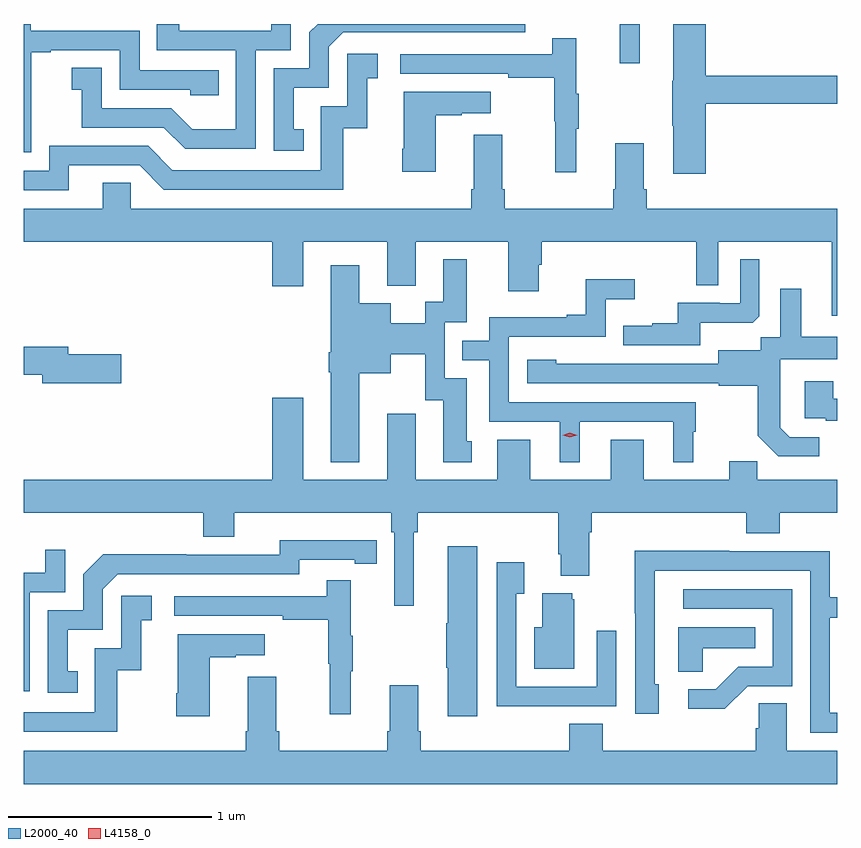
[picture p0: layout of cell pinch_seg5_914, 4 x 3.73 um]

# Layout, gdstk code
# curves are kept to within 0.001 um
import gdstk
lib = gdstk.Library(unit=1e-6, precision=1e-09)
def R(c, l, rs):  # rectangles x0, y0, x1, y1
    for r in rs: c.add(gdstk.rectangle(r[:2], r[2:], *l))
def P(c, l, *ps):  # polygons
    for p in ps: c.add(gdstk.Polygon(p, *l))
L2000_40 = (2000, 40)
L4158_0 = (4158, 0)

pinch_seg5_914 = lib.new_cell('pinch_seg5_914')
R(pinch_seg5_914, L2000_40, [(687.219,878.949,687.316,879.143)])
P(pinch_seg5_914, L2000_40, [(687.641,878.752),(688.288,878.752),(688.288,878.888),(687.641,878.888),(687.641,879.143),(687.482,879.143),(687.482,878.865),(687.475,878.865),(687.475,878.644),(687.482,878.644),(687.482,878.406),(687.641,878.406)],
  [(685.664,878.625),(685.615,878.625),(685.615,878.829),(685.788,878.829),(685.788,879.03),(685.86,879.102),(686.754,879.102),(686.754,879.143),(685.733,879.143),(685.692,879.102),(685.692,878.925),(685.518,878.925),(685.518,878.52),(685.664,878.52)],
  [(685.428,879.015),(685.602,879.015),(685.602,879.143),(685.505,879.143),(685.505,879.111),(685.054,879.111),(685.054,879.143),(684.943,879.143),(684.943,879.015),(685.332,879.015),(685.332,878.626),(685.118,878.626),(685.014,878.73),(684.672,878.73),(684.672,878.929),(684.525,878.929),(684.525,878.819),(684.574,878.819),(684.574,878.634),(684.977,878.634),(685.082,878.529),(685.428,878.529)],
  [(684.327,878.719),(684.326,878.719),(684.326,879.003),(684.421,879.003),(684.421,879.015),(684.762,879.015),(684.762,878.82),(685.107,878.82),(685.107,878.793),(685.247,878.793),(685.247,878.916),(684.858,878.916),(684.858,879.111),(684.324,879.111),(684.324,879.143),(684.288,879.143),(684.288,878.513),(684.327,878.513)],
  [(687.005,878.627),(687.016,878.627),(687.016,878.801),(687.005,878.801),(687.005,879.073),(686.887,879.073),(686.887,878.994),(686.139,878.994),(686.139,878.898),(686.671,878.898),(686.671,878.878),(686.895,878.878),(686.895,878.664),(686.902,878.664),(686.902,878.415),(687.005,878.415)],
  [(684.511,878.448),(684.858,878.448),(684.978,878.328),(685.858,878.328),(685.858,878.631),(685.976,878.631),(685.976,878.877),(686.029,878.877),(686.029,878.998),(685.878,878.998),(685.878,878.739),(685.749,878.739),(685.749,878.424),(685.02,878.424),(684.9,878.544),(684.414,878.544),(684.414,878.421),(684.288,878.421),(684.288,878.325),(684.511,878.325)],
  [(686.314,878.695),(686.441,878.695),(686.441,878.705),(686.584,878.705),(686.584,878.809),(686.156,878.809),(686.156,878.53),(686.149,878.53),(686.149,878.418),(686.314,878.418)],
  [(688.288,878.236),(687.35,878.236),(687.35,878.332),(687.337,878.332),(687.337,878.557),(687.197,878.557),(687.197,878.332),(687.185,878.332),(687.185,878.236),(686.654,878.236),(686.654,878.332),(686.641,878.332),(686.641,878.599),(686.501,878.599),(686.501,878.332),(686.489,878.332),(686.489,878.236),(684.816,878.236),(684.816,878.363),(684.677,878.363),(684.677,878.236),(684.288,878.236),(684.288,878.072),(685.511,878.072),(685.511,877.854),(685.663,877.854),(685.663,878.072),(686.075,878.072),(686.075,877.856),(686.215,877.856),(686.215,878.072),(686.669,878.072),(686.669,877.83),(686.821,877.83),(686.821,877.959),(686.834,877.959),(686.834,878.072),(687.594,878.072),(687.594,877.858),(687.702,877.858),(687.702,878.072),(688.259,878.072),(688.259,877.71),(688.288,877.71)],
  [(687.613,877.676),(687.871,877.676),(687.903,877.707),(687.903,877.987),(687.81,877.987),(687.81,877.77),(687.71,877.77),(687.71,877.773),(687.503,877.773),(687.503,877.672),(687.379,877.672),(687.379,877.66),(687.235,877.66),(687.235,877.563),(687.613,877.563)],
  [(685.939,877.427),(686.092,877.427),(686.092,877.52),(686.262,877.52),(686.262,877.293),(686.351,877.293),(686.351,876.99),(686.491,876.99),(686.491,877.092),(686.467,877.092),(686.467,877.401),(686.358,877.401),(686.358,877.677),(686.467,877.677),(686.467,877.987),(686.351,877.987),(686.351,877.778),(686.261,877.778),(686.261,877.672),(686.092,877.672),(686.092,877.771),(685.939,877.771),(685.939,877.957),(685.799,877.957),(685.799,877.531),(685.787,877.531),(685.787,877.431),(685.799,877.431),(685.799,876.989),(685.939,876.989)],
  [(687.022,877.188),(687.482,877.188),(687.482,876.989),(687.58,876.989),(687.58,877.14),(687.592,877.14),(687.592,877.284),(686.673,877.284),(686.673,877.605),(687.15,877.605),(687.15,877.79),(687.292,877.79),(687.292,877.889),(687.052,877.889),(687.052,877.714),(686.957,877.714),(686.957,877.701),(686.577,877.701),(686.577,877.587),(686.443,877.587),(686.443,877.491),(686.577,877.491),(686.577,877.188),(686.924,877.188),(686.924,876.989),(687.022,876.989)],
  [(688.198,877.113),(688.053,877.113),(688.006,877.16),(688.006,877.255),(688.008,877.255),(688.008,877.496),(688.288,877.496),(688.288,877.606),(688.111,877.606),(688.111,877.843),(688.007,877.843),(688.007,877.604),(687.912,877.604),(687.912,877.54),(687.701,877.54),(687.701,877.473),(686.907,877.474),(686.907,877.492),(686.763,877.492),(686.763,877.377),(687.705,877.377),(687.705,877.365),(687.897,877.365),(687.897,877.119),(687.997,877.019),(688.198,877.019)],
  [(684.769,877.52),(684.508,877.52),(684.508,877.556),(684.288,877.556),(684.288,877.42),(684.38,877.42),(684.38,877.378),(684.769,877.378)],
  [(688.288,877.302),(688.267,877.302),(688.267,877.387),(688.127,877.387),(688.127,877.206),(688.231,877.206),(688.231,877.194),(688.288,877.194)],
  [(686.206,876.644),(686.225,876.644),(686.225,876.74),(686.915,876.74),(686.915,876.538),(686.927,876.538),(686.927,876.431),(687.067,876.431),(687.067,876.644),(687.08,876.644),(687.08,876.74),(687.839,876.74),(687.839,876.641),(688.004,876.641),(688.004,876.74),(688.288,876.74),(688.288,876.904),(687.893,876.904),(687.893,876.995),(687.755,876.995),(687.755,876.904),(687.337,876.904),(687.337,877.099),(687.173,877.099),(687.173,876.904),(686.779,876.904),(686.779,877.099),(686.615,877.099),(686.615,876.904),(686.215,876.904),(686.215,877.228),(686.075,877.228),(686.075,876.904),(685.663,876.904),(685.663,877.306),(685.511,877.306),(685.511,876.904),(684.288,876.904),(684.288,876.74),(685.172,876.74),(685.172,876.623),(685.324,876.623),(685.324,876.74),(686.096,876.74),(686.096,876.644),(686.109,876.644),(686.109,876.285),(686.206,876.285)],
  [(684.554,875.961),(684.505,875.961),(684.505,876.165),(684.678,876.165),(684.678,876.366),(684.75,876.438),(685.644,876.438),(685.644,876.51),(685.916,876.51),(685.916,876.49),(686.024,876.49),(686.024,876.606),(685.548,876.607),(685.548,876.534),(685.088,876.534),(685.088,876.536),(684.68,876.536),(684.582,876.438),(684.582,876.261),(684.408,876.261),(684.408,875.856),(684.554,875.856)],
  [(686.518,876.577),(686.372,876.577),(686.372,876.197),(686.365,876.197),(686.365,875.98),(686.372,875.98),(686.372,875.742),(686.518,875.742)],
  [(684.318,876.351),(684.492,876.351),(684.492,876.559),(684.395,876.559),(684.395,876.447),(684.288,876.447),(684.288,875.865),(684.318,875.865)],
  [(688.288,875.757),(688.251,875.757),(688.251,876.226),(688.288,876.226),(688.288,876.327),(688.251,876.327),(688.251,876.552),(687.755,876.552),(687.755,876.554),(687.292,876.554),(687.292,876.247),(687.294,876.247),(687.294,875.754),(687.409,875.754),(687.409,875.898),(687.39,875.898),(687.39,876.456),(688.155,876.456),(688.155,875.661),(688.288,875.661)],
  [(686.885,875.79),(687.201,875.79),(687.201,876.16),(687.105,876.16),(687.105,875.886),(686.709,875.886),(686.709,876.343),(686.749,876.343),(686.749,876.499),(686.613,876.499),(686.613,875.789),(686.885,875.789)],
  [(685.895,875.963),(685.906,875.963),(685.906,876.137),(685.895,876.137),(685.895,876.409),(685.777,876.409),(685.777,876.33),(685.029,876.33),(685.029,876.234),(685.561,876.234),(685.561,876.214),(685.785,876.214),(685.785,876),(685.792,876),(685.792,875.751),(685.895,875.751)],
  [(687.846,875.889),(688.065,875.889),(688.065,876.366),(687.531,876.366),(687.531,876.27),(687.969,876.27),(687.969,875.985),(687.8,875.985),(687.689,875.874),(687.555,875.874),(687.555,875.777),(687.733,875.777)],
  [(686.995,876.315),(686.984,876.315),(686.984,876.346),(686.837,876.346),(686.837,876.178),(686.798,876.178),(686.798,875.975),(686.995,875.975)],
  [(684.748,875.967),(684.866,875.967),(684.866,876.213),(684.919,876.213),(684.919,876.334),(684.768,876.334),(684.768,876.075),(684.639,876.075),(684.639,875.76),(684.288,875.76),(684.288,875.664),(684.748,875.664)],
  [(687.627,876.074),(687.884,876.074),(687.884,876.178),(687.506,876.178),(687.506,875.959),(687.627,875.959)],
  [(685.204,876.031),(685.331,876.031),(685.331,876.041),(685.474,876.041),(685.474,876.145),(685.046,876.145),(685.046,875.854),(685.039,875.854),(685.039,875.742),(685.204,875.742)],
  [(686.087,875.893),(686.087,875.668),(686.075,875.668),(686.075,875.572),(685.544,875.572),(685.544,875.668),(685.531,875.668),(685.531,875.935),(685.391,875.935),(685.391,875.668),(685.379,875.668),(685.379,875.572),(684.288,875.572),(684.288,875.408),(688.288,875.408),(688.288,875.572),(688.039,875.572),(688.039,875.804),(687.9,875.804),(687.9,875.681),(687.887,875.681),(687.887,875.572),(687.134,875.572),(687.134,875.705),(686.969,875.705),(686.969,875.572),(686.24,875.572),(686.24,875.668),(686.227,875.668),(686.227,875.893)])
P(pinch_seg5_914, L4158_0, [(686.973,877.113),(686.937,877.123),(686.937,877.123),(686.937,877.123),(686.973,877.133),(687.009,877.123),(687.009,877.123),(687.009,877.123)])

lib.write_gds('pinch_seg5_914.gds')
